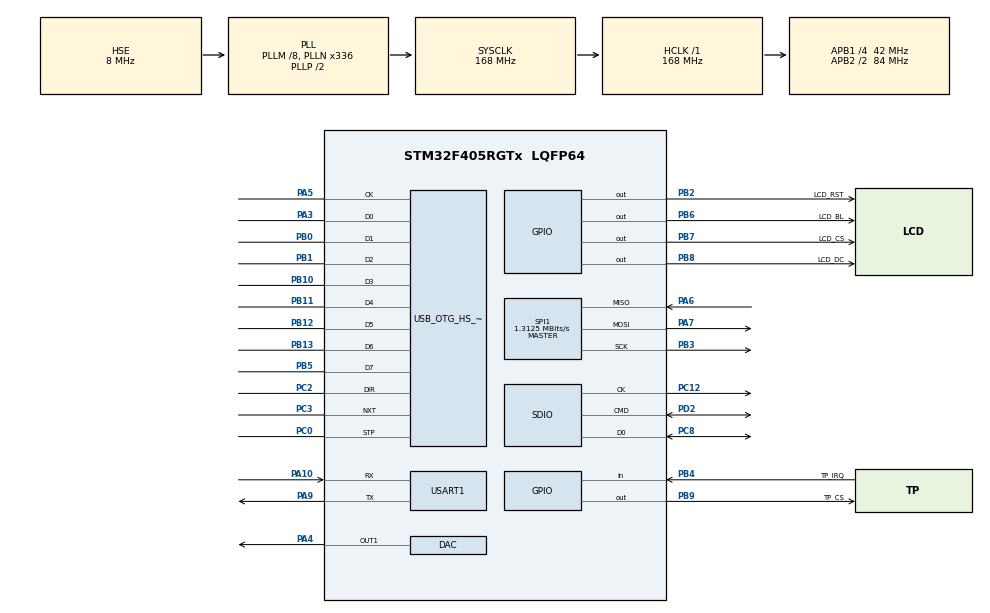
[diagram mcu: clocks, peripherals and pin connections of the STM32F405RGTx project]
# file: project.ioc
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ADC1.Channel-0\#ChannelRegularConversion=ADC_CHANNEL_VREFINT
ADC1.Channel-1\#ChannelRegularConversion=ADC_CHANNEL_TEMPSENSOR
ADC1.ContinuousConvMode=ENABLE
ADC1.DMAContinuousRequests=ENABLE
ADC1.ExternalTrigConv=ADC_EXTERNALTRIGCONV_T3_TRGO
ADC1.NbrOfConversion=2
ADC1.NbrOfConversionFlag=1
ADC1.Rank-0\#ChannelRegularConversion=1
ADC1.Rank-1\#ChannelRegularConversion=2
ADC1.SamplingTime-0\#ChannelRegularConversion=ADC_SAMPLETIME_480CYCLES
ADC1.SamplingTime-1\#ChannelRegularConversion=ADC_SAMPLETIME_480CYCLES
ADC1.master=1
DAC.DAC_Trigger=DAC_TRIGGER_T6_TRGO
Dma.ADC1.0.Direction=DMA_PERIPH_TO_MEMORY
Dma.ADC1.0.FIFOMode=DMA_FIFOMODE_DISABLE
Dma.ADC1.0.Instance=DMA2_Stream0
Dma.ADC1.0.MemDataAlignment=DMA_MDATAALIGN_HALFWORD
Dma.ADC1.0.MemInc=DMA_MINC_ENABLE
Dma.ADC1.0.Mode=DMA_CIRCULAR
Dma.ADC1.0.PeriphDataAlignment=DMA_PDATAALIGN_HALFWORD
Dma.ADC1.0.PeriphInc=DMA_PINC_DISABLE
Dma.ADC1.0.Priority=DMA_PRIORITY_LOW
Dma.DAC1.1.Direction=DMA_MEMORY_TO_PERIPH
Dma.DAC1.1.FIFOMode=DMA_FIFOMODE_DISABLE
Dma.DAC1.1.Instance=DMA1_Stream5
Dma.DAC1.1.MemDataAlignment=DMA_MDATAALIGN_HALFWORD
Dma.DAC1.1.MemInc=DMA_MINC_ENABLE
Dma.DAC1.1.Mode=DMA_CIRCULAR
Dma.DAC1.1.PeriphDataAlignment=DMA_PDATAALIGN_HALFWORD
Dma.DAC1.1.PeriphInc=DMA_PINC_DISABLE
Dma.DAC1.1.Priority=DMA_PRIORITY_HIGH
Dma.Request0=ADC1
Dma.Request1=DAC1
FREERTOS.Mutexes01=spi1Mutex,Dynamic,NULL,Available;sdMutex,Dynamic,NULL,Available
FREERTOS.Queues01=appCmdQueue,8,4,1,Dynamic,NULL,NULL
FREERTOS.Tasks01=defaultTask,24,512,StartDefaultTask,Default,NULL,Dynamic,NULL,NULL;controlTask,32,512,StartTask02,Default,NULL,Dynamic,NULL,NULL;audioTask,40,512,StartTask03,Default,NULL,Dynamic,NULL,NULL;touchTask,24,512,StartTask04,Default,NULL,Dynamic,NULL,NULL;tempTask,8,512,StartTask05,Default,NULL,Dynamic,NULL,NULL
FREERTOS.configTOTAL_HEAP_SIZE=32768
Mcu.Family=STM32F4
Mcu.Name=STM32F405RGTx
Mcu.Package=LQFP64
NVIC.ADC_IRQn=true\:5\:0\:false\:false\:true\:true\:true\:true\:true
NVIC.DMA1_Stream5_IRQn=true\:5\:0\:false\:false\:true\:true\:false\:true\:true
NVIC.DMA2_Stream0_IRQn=true\:5\:0\:false\:false\:true\:true\:false\:true\:true
NVIC.OTG_HS_IRQn=true\:5\:0\:false\:false\:true\:true\:false\:true\:true
NVIC.PriorityGroup=NVIC_PRIORITYGROUP_4
NVIC.SDIO_IRQn=true\:5\:0\:false\:false\:true\:true\:true\:true\:true
PA10.Mode=Asynchronous
PA10.Signal=USART1_RX
PA13.Mode=Serial_Wire
PA13.Signal=SYS_JTMS-SWDIO
PA14.Mode=Serial_Wire
PA14.Signal=SYS_JTCK-SWCLK
PA3.Mode=Device_HS
PA3.Signal=USB_OTG_HS_ULPI_D0
PA4.Signal=COMP_DAC1_group
PA5.Mode=Device_HS
PA5.Signal=USB_OTG_HS_ULPI_CK
PA6.Mode=Full_Duplex_Master
PA6.Signal=SPI1_MISO
PA7.Mode=Full_Duplex_Master
PA7.Signal=SPI1_MOSI
PA9.Mode=Asynchronous
PA9.Signal=USART1_TX
PB0.Mode=Device_HS
PB0.Signal=USB_OTG_HS_ULPI_D1
PB1.Mode=Device_HS
PB1.Signal=USB_OTG_HS_ULPI_D2
PB10.Mode=Device_HS
PB10.Signal=USB_OTG_HS_ULPI_D3
PB11.Mode=Device_HS
PB11.Signal=USB_OTG_HS_ULPI_D4
PB12.Mode=Device_HS
PB12.Signal=USB_OTG_HS_ULPI_D5
PB13.Mode=Device_HS
PB13.Signal=USB_OTG_HS_ULPI_D6
PB2.GPIO_Label=LCD_RST
PB2.GPIO_Speed=GPIO_SPEED_FREQ_VERY_HIGH
PB2.Signal=GPIO_Output
PB3.Mode=Full_Duplex_Master
PB3.Signal=SPI1_SCK
PB4.GPIO_Label=TP_IRQ
PB4.GPIO_PuPd=GPIO_PULLUP
PB4.Signal=GPIO_Input
PB5.Mode=Device_HS
PB5.Signal=USB_OTG_HS_ULPI_D7
PB6.GPIO_Label=LCD_BL
PB6.GPIO_Speed=GPIO_SPEED_FREQ_VERY_HIGH
PB6.Signal=GPIO_Output
PB7.GPIO_Label=LCD_CS
PB7.GPIO_Speed=GPIO_SPEED_FREQ_VERY_HIGH
PB7.Signal=GPIO_Output
PB8.GPIO_Label=LCD_DC
PB8.GPIO_Speed=GPIO_SPEED_FREQ_VERY_HIGH
PB8.Signal=GPIO_Output
PB9.GPIO_Label=TP_CS
PB9.GPIO_Speed=GPIO_SPEED_FREQ_VERY_HIGH
PB9.Signal=GPIO_Output
PC0.Mode=Device_HS
PC0.Signal=USB_OTG_HS_ULPI_STP
PC12.Mode=SD_1_bit
PC12.Signal=SDIO_CK
PC2.Mode=Device_HS
PC2.Signal=USB_OTG_HS_ULPI_DIR
PC3.Mode=Device_HS
PC3.Signal=USB_OTG_HS_ULPI_NXT
PC8.Mode=SD_1_bit
PC8.Signal=SDIO_D0
PD2.Mode=SD_1_bit
PD2.Signal=SDIO_CMD
PH0-OSC_IN.Mode=HSE-External-Oscillator
PH0-OSC_IN.Signal=RCC_OSC_IN
PH1-OSC_OUT.Mode=HSE-External-Oscillator
PH1-OSC_OUT.Signal=RCC_OSC_OUT
ProjectManager.HeapSize=0x200
ProjectManager.StackSize=0x400
ProjectManager.TargetToolchain=STM32CubeIDE
RCC.48MHZClocksFreq_Value=48000000
RCC.AHBFreq_Value=168000000
RCC.APB1CLKDivider=RCC_HCLK_DIV4
RCC.APB1Freq_Value=42000000
RCC.APB1TimFreq_Value=84000000
RCC.APB2CLKDivider=RCC_HCLK_DIV2
RCC.APB2Freq_Value=84000000
RCC.APB2TimFreq_Value=168000000
RCC.CortexFreq_Value=168000000
RCC.HCLKFreq_Value=168000000
RCC.HSE_VALUE=8000000
RCC.HSI_VALUE=16000000
RCC.LSE_VALUE=32768
RCC.PLLM=8
RCC.PLLN=336
RCC.PLLQ=7
RCC.PLLSourceVirtual=RCC_PLLSOURCE_HSE
RCC.SYSCLKFreq_VALUE=168000000
RCC.SYSCLKSource=RCC_SYSCLKSOURCE_PLLCLK
RCC.VCOOutputFreq_Value=336000000
SDIO.ClockDiv=118
SH.COMP_DAC1_group.0=DAC_OUT1,DAC_OUT1
SPI1.BaudRatePrescaler=SPI_BAUDRATEPRESCALER_64
SPI1.CalculateBaudRate=1.3125 MBits/s
SPI1.Direction=SPI_DIRECTION_2LINES
SPI1.Mode=SPI_MODE_MASTER
SPI1.VirtualType=VM_MASTER
TIM3.Period=10000-1
TIM3.Prescaler=840-1
TIM3.TIM_MasterOutputTrigger=TIM_TRGO_UPDATE
TIM6.Period=124
TIM6.Prescaler=41
TIM6.TIM_MasterOutputTrigger=TIM_TRGO_UPDATE
USART1.VirtualMode=VM_ASYNC
USB_DEVICE.CLASS_NAME_HS=MSC
USB_DEVICE.VirtualMode-MSC_HS=Msc
USB_DEVICE.VirtualModeHS=Msc_HS
USB_OTG_HS.VirtualMode-Device_HS=Device_HS
VP_ADC1_TempSens_Input.Mode=IN-TempSens
VP_ADC1_Vref_Input.Mode=IN-Vrefint
VP_FATFS_VS_SDIO.Mode=SDIO
VP_FREERTOS_VS_CMSIS_V2.Mode=CMSIS_V2
VP_TIM3_VS_ClockSourceINT.Mode=Internal
VP_TIM6_VS_ClockSourceINT.Mode=Enable_Timer
VP_USB_DEVICE_VS_USB_DEVICE_MSC_HS.Mode=MSC_HS
board=custom

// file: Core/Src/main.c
/* USER CODE BEGIN Header */
/**
  ******************************************************************************
  * @file           : main.c
  * @brief          : Main program body
  ******************************************************************************
  * @attention
  *
  * Copyright (c) 2026 STMicroelectronics.
  * All rights reserved.
  *
  * This software is licensed under terms that can be found in the LICENSE file
  * in the root directory of this software component.
  * If no LICENSE file comes with this software, it is provided AS-IS.
  *
  ******************************************************************************
  */
/* USER CODE END Header */
#include "main.h"
#include "cmsis_os.h"
#include "fatfs.h"

/* USER CODE BEGIN Includes */
#include <string.h>
#include "LCD_Driver.h"
#include "stdio.h"
#include "tmpsensor.h"
#include "touch.h"
#include "usb_device.h"
#include "usbd_core.h"
#include "cmsis_os2.h"
extern USBD_HandleTypeDef hUsbDeviceHS;
/* USER CODE END Includes */

/* USER CODE BEGIN PD */
#define WAV_HEADER_SIZE        44
#define AUDIO_BUFFER_SAMPLES   4096
#define AUDIO_HALF_SAMPLES     (AUDIO_BUFFER_SAMPLES / 2)
#define AUDIO_SAMPLE_RATE      16000

/* Audio state machine */
#define AUDIO_STOPPED   0
#define AUDIO_PLAYING   1
#define AUDIO_PAUSED    2

#define APP_CMD_PLAY       1
#define APP_CMD_PAUSE      2
#define APP_CMD_USB_TOGGLE 3
/* USER CODE END PD */

ADC_HandleTypeDef hadc1;
DMA_HandleTypeDef hdma_adc1;

DAC_HandleTypeDef hdac;
DMA_HandleTypeDef hdma_dac1;

SD_HandleTypeDef hsd;

SPI_HandleTypeDef hspi1;

TIM_HandleTypeDef htim3;
TIM_HandleTypeDef htim6;

UART_HandleTypeDef huart1;

/* Definitions for defaultTask */
osThreadId_t defaultTaskHandle;
const osThreadAttr_t defaultTask_attributes = {
  .name = "defaultTask",
  .stack_size = 512 * 4,
  .priority = (osPriority_t) osPriorityNormal,
};
/* Definitions for controlTask */
osThreadId_t controlTaskHandle;
const osThreadAttr_t controlTask_attributes = {
  .name = "controlTask",
  .stack_size = 512 * 4,
  .priority = (osPriority_t) osPriorityAboveNormal,
};
/* Definitions for audioTask */
osThreadId_t audioTaskHandle;
const osThreadAttr_t audioTask_attributes = {
  .name = "audioTask",
  .stack_size = 512 * 4,
  .priority = (osPriority_t) osPriorityHigh,
};
/* Definitions for touchTask */
osThreadId_t touchTaskHandle;
const osThreadAttr_t touchTask_attributes = {
  .name = "touchTask",
  .stack_size = 512 * 4,
  .priority = (osPriority_t) osPriorityNormal,
};
/* Definitions for tempTask */
osThreadId_t tempTaskHandle;
const osThreadAttr_t tempTask_attributes = {
  .name = "tempTask",
  .stack_size = 512 * 4,
  .priority = (osPriority_t) osPriorityLow,
};
/* Definitions for appCmdQueue */
osMessageQueueId_t appCmdQueueHandle;
const osMessageQueueAttr_t appCmdQueue_attributes = {
  .name = "appCmdQueue"
};
/* Definitions for spi1Mutex */
osMutexId_t spi1MutexHandle;
const osMutexAttr_t spi1Mutex_attributes = {
  .name = "spi1Mutex"
};
/* Definitions for sdMutex */
osMutexId_t sdMutexHandle;
const osMutexAttr_t sdMutex_attributes = {
  .name = "sdMutex"
};
/* USER CODE BEGIN PV */
FIL myFile;
FIL musicFile;

uint16_t dacBuffer[AUDIO_BUFFER_SAMPLES];
uint8_t wavTemp[AUDIO_HALF_SAMPLES];
uint8_t wavHeader[WAV_HEADER_SIZE];

volatile uint8_t sd_ready = 0;
volatile uint8_t usb_msc_mode = 0;
volatile uint8_t audio_state = AUDIO_STOPPED;
volatile uint8_t audio_half_req = 0;
volatile uint8_t audio_full_req = 0;
volatile uint8_t music_file_opened = 0;
volatile uint8_t audio_finished = 0;        /* set khi bai nhac chay het tu dong */
volatile UINT wavDataOffset = WAV_HEADER_SIZE;

volatile uint32_t audio_total_samples = 0;
volatile uint32_t audio_played_samples = 0;
//uint32_t adc_value;
//float temperature;

//Khang's code start
typedef struct AdcValues{
uint16_t Raw[2]; /* Raw values from ADC */
double IntSensTmp; /* Temperature */
}adcval_t;
adcval_t Adc;
typedef struct Flags
{
uint8_t ADCCMPLT;
}flag_t;
flag_t Flg = {0, };
//Khang's code end
/* USER CODE END PV */

void SystemClock_Config(void);
static void MX_GPIO_Init(void);
static void MX_DMA_Init(void);
static void MX_ADC1_Init(void);
static void MX_SPI1_Init(void);
static void MX_TIM3_Init(void);
static void MX_SDIO_SD_Init(void);
static void MX_USART1_UART_Init(void);
static void MX_DAC_Init(void);
static void MX_TIM6_Init(void);
void StartDefaultTask(void *argument);
void StartTask02(void *argument);
void StartTask03(void *argument);
void StartTask04(void *argument);
void StartTask05(void *argument);

/* USER CODE BEGIN PFP */
float Read_Temperature(void);
uint8_t Audio_Start(void);
void Audio_Pause(void);
void Audio_Resume(void);
void Audio_Reset(void);
void Audio_Service(void);
void Audio_FillHalf(uint16_t startIndex);
void Refresh_Music_Status(void);

void StartDefaultTask(void *argument);

uint8_t Enter_USB_MSC_Mode(void);
uint8_t Exit_USB_MSC_Mode(void);
uint16_t WAV_ReadU16(const uint8_t *p);
uint32_t WAV_ReadU32(const uint8_t *p);
/* USER CODE END PFP */

/* USER CODE BEGIN 0 */
uint16_t WAV_ReadU16(const uint8_t *p)
{
    return (uint16_t)(p[0] | (p[1] << 8));
}

uint32_t WAV_ReadU32(const uint8_t *p)
{
    return (uint32_t)p[0]
         | ((uint32_t)p[1] << 8)
         | ((uint32_t)p[2] << 16)
         | ((uint32_t)p[3] << 24);
}

void Audio_FillHalf(uint16_t startIndex)
{
    UINT br = 0;
    UINT total = 0;
    uint16_t i;

    while (total < AUDIO_HALF_SAMPLES)
    {
        if (f_read(&musicFile, &wavTemp[total], AUDIO_HALF_SAMPLES - total, &br) != FR_OK)
        {
            br = 0;
        }

        if (br == 0)
        {
            /* EOF -> fill phan con lai bang silence (0x80 cho 8-bit unsigned) */
            for (UINT k = total; k < AUDIO_HALF_SAMPLES; k++)
                wavTemp[k] = 0x80;
            break;
        }

        total += br;
    }

    for (i = 0; i < AUDIO_HALF_SAMPLES; i++)
    {
        dacBuffer[startIndex + i] = ((uint16_t)wavTemp[i]) << 4;   // 8-bit unsigned -> 12-bit DAC
    }
}

uint8_t Audio_Start(void)
{
    UINT scanRead;
    FRESULT fres;
    char dbg[40];
    uint16_t i;
    uint8_t scanBuf[256];

    if (audio_state != AUDIO_STOPPED)
        return 1;

    if (!sd_ready)
    {
        lcd_fill_rect(15, 185, 210, 25, WHITE);
        lcd_display_string(20, 190, (uint8_t *)"ERR: SD not ready", FONT_1206, RED);
        return 0;
    }

    fres = f_open(&musicFile, "music.wav", FA_READ);
    if (fres != FR_OK)
    {
        sprintf(dbg, "ERR open: %d", fres);
        lcd_fill_rect(15, 185, 210, 25, WHITE);
        lcd_display_string(20, 190, (uint8_t *)dbg, FONT_1206, RED);
        return 0;
    }

    music_file_opened = 1;

    fres = f_read(&musicFile, scanBuf, sizeof(scanBuf), &scanRead);
    if (fres != FR_OK || scanRead < 44)
    {
        sprintf(dbg, "ERR read: %d/%u", fres, scanRead);
        lcd_fill_rect(15, 185, 210, 25, WHITE);
        lcd_display_string(20, 190, (uint8_t *)dbg, FONT_1206, RED);
        f_close(&musicFile);
        music_file_opened = 0;
        return 0;
    }

    if (memcmp(&scanBuf[0], "RIFF", 4) != 0)
    {
        lcd_fill_rect(15, 185, 210, 25, WHITE);
        lcd_display_string(20, 190, (uint8_t *)"ERR: no RIFF", FONT_1206, RED);
        f_close(&musicFile);
        music_file_opened = 0;
        return 0;
    }

    if (memcmp(&scanBuf[8], "WAVE", 4) != 0)
    {
        lcd_fill_rect(15, 185, 210, 25, WHITE);
        lcd_display_string(20, 190, (uint8_t *)"ERR: no WAVE", FONT_1206, RED);
        f_close(&musicFile);
        music_file_opened = 0;
        return 0;
    }

    if (memcmp(&scanBuf[12], "fmt ", 4) != 0)
    {
        lcd_fill_rect(15, 185, 210, 25, WHITE);
        lcd_display_string(20, 190, (uint8_t *)"ERR: no fmt", FONT_1206, RED);
        f_close(&musicFile);
        music_file_opened = 0;
        return 0;
    }

    if (WAV_ReadU16(&scanBuf[20]) != 1)
    {
        sprintf(dbg, "ERR fmt=%u", WAV_ReadU16(&scanBuf[20]));
        lcd_fill_rect(15, 185, 210, 25, WHITE);
        lcd_display_string(20, 190, (uint8_t *)dbg, FONT_1206, RED);
        f_close(&musicFile);
        music_file_opened = 0;
        return 0;
    }

    if (WAV_ReadU16(&scanBuf[22]) != 1)
    {
        sprintf(dbg, "ERR ch=%u", WAV_ReadU16(&scanBuf[22]));
        lcd_fill_rect(15, 185, 210, 25, WHITE);
        lcd_display_string(20, 190, (uint8_t *)dbg, FONT_1206, RED);
        f_close(&musicFile);
        music_file_opened = 0;
        return 0;
    }

    if (WAV_ReadU32(&scanBuf[24]) != 16000)
    {
        sprintf(dbg, "ERR rate=%lu", WAV_ReadU32(&scanBuf[24]));
        lcd_fill_rect(15, 185, 210, 25, WHITE);
        lcd_display_string(20, 190, (uint8_t *)dbg, FONT_1206, RED);
        f_close(&musicFile);
        music_file_opened = 0;
        return 0;
    }

    if (WAV_ReadU16(&scanBuf[34]) != 8)
    {
        sprintf(dbg, "ERR bits=%u", WAV_ReadU16(&scanBuf[34]));
        lcd_fill_rect(15, 185, 210, 25, WHITE);
        lcd_display_string(20, 190, (uint8_t *)dbg, FONT_1206, RED);
        f_close(&musicFile);
        music_file_opened = 0;
        return 0;
    }

    wavDataOffset = 0;
    for (i = 12; (i + 8) < scanRead; i++)
    {
        if (memcmp(&scanBuf[i], "data", 4) == 0)
        {
            wavDataOffset = i + 8;   // sau "data" + size
            break;
        }
    }

    if (wavDataOffset == 0)
    {
        lcd_fill_rect(15, 185, 210, 25, WHITE);
        lcd_display_string(20, 190, (uint8_t *)"ERR: no data", FONT_1206, RED);
        f_close(&musicFile);
        music_file_opened = 0;
        return 0;
    }

    if (f_lseek(&musicFile, wavDataOffset) != FR_OK)
    {
        lcd_fill_rect(15, 185, 210, 25, WHITE);
        lcd_display_string(20, 190, (uint8_t *)"ERR: seek data", FONT_1206, RED);
        f_close(&musicFile);
        music_file_opened = 0;
        return 0;
    }

    /* Tinh tong so samples = file_size - data_offset (8-bit mono -> 1 byte/sample) */
    uint32_t file_size = f_size(&musicFile);
    if (file_size > wavDataOffset)
        audio_total_samples = file_size - wavDataOffset;
    else
        audio_total_samples = 0;
    audio_played_samples = 0;
    audio_finished = 0;

    Audio_FillHalf(0);
    Audio_FillHalf(AUDIO_HALF_SAMPLES);

    audio_half_req = 0;
    audio_full_req = 0;

    HAL_TIM_Base_Start(&htim6);
    HAL_DAC_Start_DMA(&hdac, DAC_CHANNEL_1, (uint32_t*)dacBuffer, AUDIO_BUFFER_SAMPLES, DAC_ALIGN_12B_R);

    audio_state = AUDIO_PLAYING;
    return 1;
}

/* Pause: giu file mo + giu vi tri + giu counter */
void Audio_Pause(void)
{
    if (audio_state != AUDIO_PLAYING)
        return;

    HAL_DAC_Stop_DMA(&hdac, DAC_CHANNEL_1);
    HAL_TIM_Base_Stop(&htim6);

    audio_state = AUDIO_PAUSED;
}

/* Resume: nap lai buffer tu vi tri file hien tai roi chay tiep */
void Audio_Resume(void)
{
    if (audio_state != AUDIO_PAUSED)
        return;

    /* Nap lai buffer de tranh nghe lai doan cu trong dacBuffer */
    Audio_FillHalf(0);
    Audio_FillHalf(AUDIO_HALF_SAMPLES);

    audio_half_req = 0;
    audio_full_req = 0;

    HAL_TIM_Base_Start(&htim6);
    HAL_DAC_Start_DMA(&hdac, DAC_CHANNEL_1, (uint32_t*)dacBuffer, AUDIO_BUFFER_SAMPLES, DAC_ALIGN_12B_R);

    audio_state = AUDIO_PLAYING;
}

/* Reset: dong file + reset counter ve dau */
void Audio_Reset(void)
{
    if (audio_state == AUDIO_PLAYING)
    {
        HAL_DAC_Stop_DMA(&hdac, DAC_CHANNEL_1);
        HAL_TIM_Base_Stop(&htim6);
    }

    if (music_file_opened)
    {
        f_close(&musicFile);
        music_file_opened = 0;
    }

    audio_state = AUDIO_STOPPED;
    audio_played_samples = 0;
    audio_total_samples = 0;
    audio_finished = 0;
}

void Audio_Service(void)
{
    if (audio_state != AUDIO_PLAYING)
        return;

    if (audio_half_req)
    {
        audio_half_req = 0;
        audio_played_samples += AUDIO_HALF_SAMPLES;
        Audio_FillHalf(0);
    }

    if (audio_full_req)
    {
        audio_full_req = 0;
        audio_played_samples += AUDIO_HALF_SAMPLES;
        Audio_FillHalf(AUDIO_HALF_SAMPLES);
    }

    /* Het bai -> tu dong dung hoan toan */
    if (audio_total_samples > 0 && audio_played_samples >= audio_total_samples)
    {
        HAL_DAC_Stop_DMA(&hdac, DAC_CHANNEL_1);
        HAL_TIM_Base_Stop(&htim6);

        if (music_file_opened)
        {
            f_close(&musicFile);
            music_file_opened = 0;
        }

        audio_state = AUDIO_STOPPED;
        audio_finished = 1;   /* bao main loop cap nhat UI */
    }
}
void Refresh_Music_Status(void)
{
    FRESULT res;

    if (!sd_ready) return;

    res = f_open(&musicFile, "music.wav", FA_READ);

    osMutexAcquire(spi1MutexHandle, osWaitForever);
    lcd_fill_rect(20, 230, 200, 20, WHITE);

    if (res == FR_OK)
    {
        f_close(&musicFile);
        lcd_display_string(20, 230, (uint8_t*)"music.wav READY", FONT_1206, BLACK);
    }
    else
    {
        lcd_display_string(20, 230, (uint8_t*)"music.wav FAIL", FONT_1206, RED);
    }
    osMutexRelease(spi1MutexHandle);
}
uint8_t Enter_USB_MSC_Mode(void)
{
    if (usb_msc_mode) return 1;

    /* Dung hẳn audio, đóng file */
    Audio_Reset();

    osMutexAcquire(spi1MutexHandle, osWaitForever);
    lcd_fill_rect(15, 185, 210, 25, WHITE);
    lcd_display_string(20, 190, (uint8_t*)"USB MODE: START", FONT_1206, BLACK);

    /* Xoa dong thoi gian cu */
    lcd_fill_rect(15, 273, 200, 15, WHITE);
    osMutexRelease(spi1MutexHandle);

    /* Unmount SD khoi FatFs */
    f_mount(NULL, SDPath, 1);
    osDelay(100);

    /* Bat USB MSC */
    MX_USB_DEVICE_Init();
    osDelay(500);

    usb_msc_mode = 1;

    osMutexAcquire(spi1MutexHandle, osWaitForever);
    lcd_fill_rect(10, 250, 220, 20, WHITE);
    lcd_display_string(20, 250, (uint8_t*)"PC: Copy music.wav", FONT_1206, BLUE);
    osMutexRelease(spi1MutexHandle);

    return 1;
}
uint8_t Exit_USB_MSC_Mode(void)
{
    FRESULT res;

    if (!usb_msc_mode) return 1;

    osMutexAcquire(spi1MutexHandle, osWaitForever);
    lcd_fill_rect(15, 185, 210, 25, WHITE);
    lcd_display_string(20, 190, (uint8_t*)"USB MODE: STOP", FONT_1206, BLACK);
    osMutexRelease(spi1MutexHandle);

    /* Tat USB */
    USBD_Stop(&hUsbDeviceHS);
    USBD_DeInit(&hUsbDeviceHS);
    osDelay(300);

    /* Mount lai SD */
    res = f_mount(&SDFatFS, SDPath, 1);
    if (res == FR_OK)
    {
        sd_ready = 1;

        osMutexAcquire(spi1MutexHandle, osWaitForever);
        lcd_fill_rect(20, 210, 200, 20, WHITE);
        lcd_display_string(20, 210, (uint8_t*)"SD OK", FONT_1206, BLACK);
        osMutexRelease(spi1MutexHandle);
    }
    else
    {
        sd_ready = 0;

        osMutexAcquire(spi1MutexHandle, osWaitForever);
        lcd_fill_rect(20, 210, 200, 20, WHITE);
        lcd_display_string(20, 210, (uint8_t*)"Mount FAIL", FONT_1206, RED);
        osMutexRelease(spi1MutexHandle);

        usb_msc_mode = 0;
        return 0;
    }

    Refresh_Music_Status();

    osMutexAcquire(spi1MutexHandle, osWaitForever);
    lcd_fill_rect(10, 250, 220, 20, WHITE);
    lcd_display_string(20, 250, (uint8_t*)"USB Exit", FONT_1206, BLACK);
    osMutexRelease(spi1MutexHandle);

    usb_msc_mode = 0;
    return 1;
}
void HAL_DAC_ConvHalfCpltCallbackCh1(DAC_HandleTypeDef *hdac)
{
    audio_half_req = 1;
}

void HAL_DAC_ConvCpltCallbackCh1(DAC_HandleTypeDef *hdac)
{
    audio_full_req = 1;
}

/* USER CODE END 0 */

int main(void)
{

  /* MCU Configuration--------------------------------------------------------*/

  /* Reset of all peripherals, Initializes the Flash interface and the Systick. */
  HAL_Init();

  /* Configure the system clock */
  SystemClock_Config();

  /* Initialize all configured peripherals */
  MX_GPIO_Init();
  MX_DMA_Init();
  MX_ADC1_Init();
  MX_SPI1_Init();
  MX_TIM3_Init();
  MX_SDIO_SD_Init();
  MX_USART1_UART_Init();
  MX_FATFS_Init();
  MX_DAC_Init();
  MX_TIM6_Init();
  /* USER CODE BEGIN 2 */
    sd_ready = 0;

    lcd_init();
    tp_init();

    lcd_clear_screen(0x2B4F);

    /* Title */
    lcd_fill_rect(10, 10, 100, 35, WHITE);
    lcd_display_string(22, 20, (uint8_t *)"[Nhom 09]", FONT_1608, BLACK);

    /* Internal Temp */
    lcd_fill_rect(10, 55, 220, 30, WHITE);
    lcd_display_string(20, 64, (uint8_t *)"Internal Temperature:", FONT_1206, BLACK);

    /* Nut Play/Pause */
    lcd_fill_rect(10, 90, 220, 80, WHITE);
    lcd_draw_line(50, 105, 90, 130, BLACK);
    lcd_draw_line(90, 130, 50, 155, BLACK);
    lcd_draw_line(50, 155, 50, 105, BLACK);
    lcd_fill_rect(130, 105, 18, 50, BLACK);
    lcd_fill_rect(165, 105, 18, 50, BLACK);

    /* Data */
    lcd_fill_rect(10, 180, 220, 130, WHITE);
    lcd_display_string(20, 190, (uint8_t *)"Data...", FONT_1206, BLACK);

    /* UI da ve xong -> bat backlight. */
    LCD_BKL_H();
  /* USER CODE END 2 */

  /* Init scheduler */
  osKernelInitialize();
  /* Create the mutex(es) */
  /* creation of spi1Mutex */
  spi1MutexHandle = osMutexNew(&spi1Mutex_attributes);

  /* creation of sdMutex */
  sdMutexHandle = osMutexNew(&sdMutex_attributes);

  /* Create the queue(s) */
  /* creation of appCmdQueue */
  appCmdQueueHandle = osMessageQueueNew (8, 4, &appCmdQueue_attributes);

  /* Create the thread(s) */
  /* creation of defaultTask */
  defaultTaskHandle = osThreadNew(StartDefaultTask, NULL, &defaultTask_attributes);

  /* creation of controlTask */
  controlTaskHandle = osThreadNew(StartTask02, NULL, &controlTask_attributes);

  /* creation of audioTask */
  audioTaskHandle = osThreadNew(StartTask03, NULL, &audioTask_attributes);

  /* creation of touchTask */
  touchTaskHandle = osThreadNew(StartTask04, NULL, &touchTask_attributes);

  /* creation of tempTask */
  tempTaskHandle = osThreadNew(StartTask05, NULL, &tempTask_attributes);

  /* Start scheduler */
  osKernelStart();

  /* We should never get here as control is now taken by the scheduler */

  /* Infinite loop */
  /* USER CODE BEGIN WHILE */
//    uint32_t last_temp_update = 0;
//    uint32_t last_time_update = 0;
//    char last_time_str[24] = "             ";   /* 13 spaces: "MM:SS / MM:SS" */
//    char last_temp_str[16] = "       ";         /* 7 spaces:  "XX.XX C" */
//
//    const int CHAR_W = 6;   /* FONT_1206: rong 6, cao 12 */
//    const int CHAR_H = 12;

        while (1)
        {
        }

    /* USER CODE END WHILE */

}

void SystemClock_Config(void)
{
  RCC_OscInitTypeDef RCC_OscInitStruct = {0};
  RCC_ClkInitTypeDef RCC_ClkInitStruct = {0};

  /** Configure the main internal regulator output voltage
  */
  __HAL_RCC_PWR_CLK_ENABLE();
  __HAL_PWR_VOLTAGESCALING_CONFIG(PWR_REGULATOR_VOLTAGE_SCALE1);

  /** Initializes the RCC Oscillators according to the specified parameters
  * in the RCC_OscInitTypeDef structure.
  */
  RCC_OscInitStruct.OscillatorType = RCC_OSCILLATORTYPE_HSE;
  RCC_OscInitStruct.HSEState = RCC_HSE_ON;
  RCC_OscInitStruct.PLL.PLLState = RCC_PLL_ON;
  RCC_OscInitStruct.PLL.PLLSource = RCC_PLLSOURCE_HSE;
  RCC_OscInitStruct.PLL.PLLM = 8;
  RCC_OscInitStruct.PLL.PLLN = 336;
  RCC_OscInitStruct.PLL.PLLP = RCC_PLLP_DIV2;
  RCC_OscInitStruct.PLL.PLLQ = 7;
  if (HAL_RCC_OscConfig(&RCC_OscInitStruct) != HAL_OK)
  {
    Error_Handler();
  }

  /** Initializes the CPU, AHB and APB buses clocks
  */
  RCC_ClkInitStruct.ClockType = RCC_CLOCKTYPE_HCLK|RCC_CLOCKTYPE_SYSCLK
                              |RCC_CLOCKTYPE_PCLK1|RCC_CLOCKTYPE_PCLK2;
  RCC_ClkInitStruct.SYSCLKSource = RCC_SYSCLKSOURCE_PLLCLK;
  RCC_ClkInitStruct.AHBCLKDivider = RCC_SYSCLK_DIV1;
  RCC_ClkInitStruct.APB1CLKDivider = RCC_HCLK_DIV4;
  RCC_ClkInitStruct.APB2CLKDivider = RCC_HCLK_DIV2;

  if (HAL_RCC_ClockConfig(&RCC_ClkInitStruct, FLASH_LATENCY_5) != HAL_OK)
  {
    Error_Handler();
  }
}

static void MX_ADC1_Init(void)
{

  ADC_ChannelConfTypeDef sConfig = {0};

  /** Configure the global features of the ADC (Clock, Resolution, Data Alignment and number of conversion)
  */
  hadc1.Instance = ADC1;
  hadc1.Init.ClockPrescaler = ADC_CLOCK_SYNC_PCLK_DIV4;
  hadc1.Init.Resolution = ADC_RESOLUTION_12B;
  hadc1.Init.ScanConvMode = ENABLE;
  hadc1.Init.ContinuousConvMode = ENABLE;
  hadc1.Init.DiscontinuousConvMode = DISABLE;
  hadc1.Init.ExternalTrigConvEdge = ADC_EXTERNALTRIGCONVEDGE_RISING;
  hadc1.Init.ExternalTrigConv = ADC_EXTERNALTRIGCONV_T3_TRGO;
  hadc1.Init.DataAlign = ADC_DATAALIGN_RIGHT;
  hadc1.Init.NbrOfConversion = 2;
  hadc1.Init.DMAContinuousRequests = ENABLE;
  hadc1.Init.EOCSelection = ADC_EOC_SINGLE_CONV;
  if (HAL_ADC_Init(&hadc1) != HAL_OK)
  {
    Error_Handler();
  }

  /** Configure for the selected ADC regular channel its corresponding rank in the sequencer and its sample time.
  */
  sConfig.Channel = ADC_CHANNEL_VREFINT;
  sConfig.Rank = 1;
  sConfig.SamplingTime = ADC_SAMPLETIME_480CYCLES;
  if (HAL_ADC_ConfigChannel(&hadc1, &sConfig) != HAL_OK)
  {
    Error_Handler();
  }

  /** Configure for the selected ADC regular channel its corresponding rank in the sequencer and its sample time.
  */
  sConfig.Channel = ADC_CHANNEL_TEMPSENSOR;
  sConfig.Rank = 2;
  if (HAL_ADC_ConfigChannel(&hadc1, &sConfig) != HAL_OK)
  {
    Error_Handler();
  }

}

static void MX_DAC_Init(void)
{

  DAC_ChannelConfTypeDef sConfig = {0};

  /** DAC Initialization
  */
  hdac.Instance = DAC;
  if (HAL_DAC_Init(&hdac) != HAL_OK)
  {
    Error_Handler();
  }

  /** DAC channel OUT1 config
  */
  sConfig.DAC_Trigger = DAC_TRIGGER_T6_TRGO;
  sConfig.DAC_OutputBuffer = DAC_OUTPUTBUFFER_ENABLE;
  if (HAL_DAC_ConfigChannel(&hdac, &sConfig, DAC_CHANNEL_1) != HAL_OK)
  {
    Error_Handler();
  }

}

static void MX_SDIO_SD_Init(void)
{

  hsd.Instance = SDIO;
  hsd.Init.ClockEdge = SDIO_CLOCK_EDGE_RISING;
  hsd.Init.ClockBypass = SDIO_CLOCK_BYPASS_DISABLE;
  hsd.Init.ClockPowerSave = SDIO_CLOCK_POWER_SAVE_DISABLE;
  hsd.Init.BusWide = SDIO_BUS_WIDE_1B;
  hsd.Init.HardwareFlowControl = SDIO_HARDWARE_FLOW_CONTROL_DISABLE;
  hsd.Init.ClockDiv = 10;

}

static void MX_SPI1_Init(void)
{

  /* SPI1 parameter configuration*/
  hspi1.Instance = SPI1;
  hspi1.Init.Mode = SPI_MODE_MASTER;
  hspi1.Init.Direction = SPI_DIRECTION_2LINES;
  hspi1.Init.DataSize = SPI_DATASIZE_8BIT;
  hspi1.Init.CLKPolarity = SPI_POLARITY_LOW;
  hspi1.Init.CLKPhase = SPI_PHASE_1EDGE;
  hspi1.Init.NSS = SPI_NSS_SOFT;
  hspi1.Init.BaudRatePrescaler = SPI_BAUDRATEPRESCALER_64;
  hspi1.Init.FirstBit = SPI_FIRSTBIT_MSB;
  hspi1.Init.TIMode = SPI_TIMODE_DISABLE;
  hspi1.Init.CRCCalculation = SPI_CRCCALCULATION_DISABLE;
  hspi1.Init.CRCPolynomial = 10;
  if (HAL_SPI_Init(&hspi1) != HAL_OK)
  {
    Error_Handler();
  }

}

static void MX_TIM3_Init(void)
{

  TIM_ClockConfigTypeDef sClockSourceConfig = {0};
  TIM_MasterConfigTypeDef sMasterConfig = {0};

  htim3.Instance = TIM3;
  htim3.Init.Prescaler = 840-1;
  htim3.Init.CounterMode = TIM_COUNTERMODE_UP;
  htim3.Init.Period = 10000-1;
  htim3.Init.ClockDivision = TIM_CLOCKDIVISION_DIV1;
  htim3.Init.AutoReloadPreload = TIM_AUTORELOAD_PRELOAD_DISABLE;
  if (HAL_TIM_Base_Init(&htim3) != HAL_OK)
  {
    Error_Handler();
  }
  sClockSourceConfig.ClockSource = TIM_CLOCKSOURCE_INTERNAL;
  if (HAL_TIM_ConfigClockSource(&htim3, &sClockSourceConfig) != HAL_OK)
  {
    Error_Handler();
  }
  sMasterConfig.MasterOutputTrigger = TIM_TRGO_UPDATE;
  sMasterConfig.MasterSlaveMode = TIM_MASTERSLAVEMODE_DISABLE;
  if (HAL_TIMEx_MasterConfigSynchronization(&htim3, &sMasterConfig) != HAL_OK)
  {
    Error_Handler();
  }

}

static void MX_TIM6_Init(void)
{

  TIM_MasterConfigTypeDef sMasterConfig = {0};

  htim6.Instance = TIM6;
  htim6.Init.Prescaler = 41;
  htim6.Init.CounterMode = TIM_COUNTERMODE_UP;
  htim6.Init.Period = 124;
  htim6.Init.AutoReloadPreload = TIM_AUTORELOAD_PRELOAD_DISABLE;
  if (HAL_TIM_Base_Init(&htim6) != HAL_OK)
  {
    Error_Handler();
  }
  sMasterConfig.MasterOutputTrigger = TIM_TRGO_UPDATE;
  sMasterConfig.MasterSlaveMode = TIM_MASTERSLAVEMODE_DISABLE;
  if (HAL_TIMEx_MasterConfigSynchronization(&htim6, &sMasterConfig) != HAL_OK)
  {
    Error_Handler();
  }

}

static void MX_USART1_UART_Init(void)
{

  huart1.Instance = USART1;
  huart1.Init.BaudRate = 115200;
  huart1.Init.WordLength = UART_WORDLENGTH_8B;
  huart1.Init.StopBits = UART_STOPBITS_1;
  huart1.Init.Parity = UART_PARITY_NONE;
  huart1.Init.Mode = UART_MODE_TX_RX;
  huart1.Init.HwFlowCtl = UART_HWCONTROL_NONE;
  huart1.Init.OverSampling = UART_OVERSAMPLING_16;
  if (HAL_UART_Init(&huart1) != HAL_OK)
  {
    Error_Handler();
  }

}

static void MX_DMA_Init(void)
{

  /* DMA controller clock enable */
  __HAL_RCC_DMA2_CLK_ENABLE();
  __HAL_RCC_DMA1_CLK_ENABLE();

  /* DMA interrupt init */
  /* DMA1_Stream5_IRQn interrupt configuration */
  HAL_NVIC_SetPriority(DMA1_Stream5_IRQn, 5, 0);
  HAL_NVIC_EnableIRQ(DMA1_Stream5_IRQn);
  /* DMA2_Stream0_IRQn interrupt configuration */
  HAL_NVIC_SetPriority(DMA2_Stream0_IRQn, 5, 0);
  HAL_NVIC_EnableIRQ(DMA2_Stream0_IRQn);

}

static void MX_GPIO_Init(void)
{
  GPIO_InitTypeDef GPIO_InitStruct = {0};

  /* GPIO Ports Clock Enable */
  __HAL_RCC_GPIOH_CLK_ENABLE();
  __HAL_RCC_GPIOC_CLK_ENABLE();
  __HAL_RCC_GPIOA_CLK_ENABLE();
  __HAL_RCC_GPIOB_CLK_ENABLE();
  __HAL_RCC_GPIOD_CLK_ENABLE();

  /*Configure GPIO pin Output Level */
  HAL_GPIO_WritePin(GPIOB, LCD_RST_Pin|LCD_BL_Pin|LCD_CS_Pin|LCD_DC_Pin
                          |TP_CS_Pin, GPIO_PIN_RESET);

  /*Configure GPIO pins : LCD_RST_Pin LCD_BL_Pin LCD_CS_Pin LCD_DC_Pin
                           TP_CS_Pin */
  GPIO_InitStruct.Pin = LCD_RST_Pin|LCD_BL_Pin|LCD_CS_Pin|LCD_DC_Pin
                          |TP_CS_Pin;
  GPIO_InitStruct.Mode = GPIO_MODE_OUTPUT_PP;
  GPIO_InitStruct.Pull = GPIO_NOPULL;
  GPIO_InitStruct.Speed = GPIO_SPEED_FREQ_VERY_HIGH;
  HAL_GPIO_Init(GPIOB, &GPIO_InitStruct);

  /*Configure GPIO pin : TP_IRQ_Pin */
  GPIO_InitStruct.Pin = TP_IRQ_Pin;
  GPIO_InitStruct.Mode = GPIO_MODE_INPUT;
  GPIO_InitStruct.Pull = GPIO_PULLUP;
  HAL_GPIO_Init(TP_IRQ_GPIO_Port, &GPIO_InitStruct);

}

/* USER CODE BEGIN 4 */
float Read_Temperature(void)
{
    uint32_t adc_temp, adc_vref;
    float Vref, Vsense, temperature;

    HAL_ADC_Start(&hadc1);

    // Đọc nhiệt độ
    HAL_ADC_PollForConversion(&hadc1, HAL_MAX_DELAY);
    adc_temp = HAL_ADC_GetValue(&hadc1);

    // Đọc Vref
    HAL_ADC_PollForConversion(&hadc1, HAL_MAX_DELAY);
    adc_vref = HAL_ADC_GetValue(&hadc1);

    // Tính lại điện áp tham chiếu
    Vref = 1.21 * 4095 / adc_vref;

    Vsense = adc_temp * Vref / 4095;

    temperature = (Vsense - 0.76) / 0.0025 + 25;

    return temperature;
}
//Khang's code start
void HAL_ADC_ConvCpltCallback(ADC_HandleTypeDef* hadc)
{
    if(hadc->Instance == ADC1) /* Check if the interrupt comes from ACD1 */
    {
    /* Set flag to true */
    Flg.ADCCMPLT = 255;
    }
}
//Khang's code end
/* USER CODE END 4 */

void StartDefaultTask(void *argument)
{
  FRESULT res;

  HAL_ADC_Start_DMA(&hadc1, (uint32_t*)Adc.Raw, 2);
  HAL_TIM_Base_Start(&htim3);

  osDelay(200);

  osMutexAcquire(spi1MutexHandle, osWaitForever);
  lcd_fill_rect(20, 210, 200, 20, WHITE);
  lcd_display_string(20, 210, (uint8_t*)"Init SD...", FONT_1206, BLACK);
  osMutexRelease(spi1MutexHandle);

  osMutexAcquire(sdMutexHandle, osWaitForever);
  res = f_mount(&SDFatFS, SDPath, 1);
  osMutexRelease(sdMutexHandle);

  if (res == FR_OK)
  {
    sd_ready = 1;

    osMutexAcquire(spi1MutexHandle, osWaitForever);
    lcd_fill_rect(20, 210, 200, 20, WHITE);
    lcd_display_string(20, 210, (uint8_t*)"SD OK", FONT_1206, BLACK);
    osMutexRelease(spi1MutexHandle);

    /* Refresh_Music_Status mo/dong file -> can sdMutex de tranh race
     * voi controlTask/audioTask vua moi duoc start */
    osMutexAcquire(sdMutexHandle, osWaitForever);
    Refresh_Music_Status();
    osMutexRelease(sdMutexHandle);
  }
  else
  {
    sd_ready = 0;

    char msg[32];
    sprintf(msg, "Mount FAIL: %d", res);

    osMutexAcquire(spi1MutexHandle, osWaitForever);
    lcd_fill_rect(20, 210, 200, 20, WHITE);
    lcd_display_string(20, 210, (uint8_t*)msg, FONT_1206, RED);
    osMutexRelease(spi1MutexHandle);
  }

  for(;;)
  {
    osDelay(1000);
  }
}

/* USER CODE BEGIN Header_StartTask02 */
/**
* @brief Function implementing the controlTask thread.
* @param argument: Not used
* @retval None
*/
void StartTask02(void *argument)
{
	uint32_t cmd;

  for(;;)
  {
    if (osMessageQueueGet(appCmdQueueHandle, &cmd, NULL, 10) == osOK)
    {
      switch (cmd)
      {
        case APP_CMD_PLAY:
          if (usb_msc_mode)
          {
            osMutexAcquire(spi1MutexHandle, osWaitForever);
            lcd_fill_rect(15, 185, 200, 25, WHITE);
            lcd_display_string(20, 190, (uint8_t *)"Thoat USB MODE truoc", FONT_1206, RED);
            osMutexRelease(spi1MutexHandle);
          }
          else
          {
            osMutexAcquire(sdMutexHandle, osWaitForever);

            if (audio_state != AUDIO_STOPPED)
            {
              Audio_Reset();
            }

            if (Audio_Start())
            {
              osMutexAcquire(spi1MutexHandle, osWaitForever);
              lcd_fill_rect(15, 185, 200, 25, WHITE);
              lcd_display_string(20, 190, (uint8_t *)"Nhac: PLAYING...", FONT_1206, BLACK);
              osMutexRelease(spi1MutexHandle);
            }

            osMutexRelease(sdMutexHandle);
          }
          break;

        case APP_CMD_PAUSE:
          osMutexAcquire(sdMutexHandle, osWaitForever);

          if (!usb_msc_mode)
          {
            Enter_USB_MSC_Mode();
          }
          else
          {
            Exit_USB_MSC_Mode();
          }

          osMutexRelease(sdMutexHandle);
          break;

        default:
          break;
      }
    }

    osDelay(10);
  }
}
/* USER CODE END Header_StartTask02 */

void StartTask03(void *argument)
{
  uint32_t last_time_update = 0;
  char last_time_str[24] = "             ";
  const int CHAR_W = 6;
  const int CHAR_H = 12;

  for(;;)
  {
    if (!usb_msc_mode)
    {
      osMutexAcquire(sdMutexHandle, osWaitForever);
      Audio_Service();
      osMutexRelease(sdMutexHandle);
    }

    if (audio_finished)
    {
      audio_finished = 0;

      osMutexAcquire(spi1MutexHandle, osWaitForever);
      lcd_fill_rect(15, 185, 200, 25, WHITE);
      lcd_display_string(20, 190, (uint8_t *)"Nhac: HET BAI", FONT_1206, BLACK);
      lcd_fill_rect(15, 273, 200, 15, WHITE);
      osMutexRelease(spi1MutexHandle);

      memset(last_time_str, ' ', 13);
      last_time_str[13] = '\0';
    }

    if (audio_state == AUDIO_PLAYING && audio_total_samples > 0 &&
        HAL_GetTick() - last_time_update > 200)
    {
      last_time_update = HAL_GetTick();

      uint32_t played = audio_played_samples;
      uint32_t total  = audio_total_samples;
      if (played > total) played = total;

      uint32_t cur_s = played / AUDIO_SAMPLE_RATE;
      uint32_t tot_s = total / AUDIO_SAMPLE_RATE;

      char new_time_str[24];
      snprintf(new_time_str, sizeof(new_time_str), "%02lu:%02lu / %02lu:%02lu",
               (unsigned long)(cur_s / 60), (unsigned long)(cur_s % 60),
               (unsigned long)(tot_s / 60), (unsigned long)(tot_s % 60));

      const int T_X = 20;
      const int T_Y = 275;

      osMutexAcquire(spi1MutexHandle, osWaitForever);
      for (int i = 0; new_time_str[i] != '\0' && i < 15; i++)
      {
        if (last_time_str[i] != new_time_str[i])
        {
          lcd_fill_rect(T_X + i * CHAR_W, T_Y, CHAR_W, CHAR_H, WHITE);
          char tmp[2] = { new_time_str[i], '\0' };
          lcd_display_string(T_X + i * CHAR_W, T_Y, (uint8_t *)tmp, FONT_1206, BLACK);
        }
      }
      osMutexRelease(spi1MutexHandle);

      strcpy(last_time_str, new_time_str);
    }

    osDelay(10);
  }
}
void StartTask04(void *argument)
{
  uint16_t raw_x = 0, raw_y = 0;
  uint32_t cmd;

  for(;;)
  {
    osMutexAcquire(spi1MutexHandle, osWaitForever);
    uint8_t touched = Get_Touch_XY(&raw_x, &raw_y);
    osMutexRelease(spi1MutexHandle);

    if (touched)
    {
      if (raw_x >= 1900 && raw_x <= 2700 && raw_y >= 1000 && raw_y <= 2900)
      {
        if (raw_y >= 1900)
          cmd = APP_CMD_PLAY;
        else
          cmd = APP_CMD_PAUSE;

        osMessageQueuePut(appCmdQueueHandle, &cmd, 0, 0);
        osDelay(300);
      }
    }

    osDelay(20);
  }
}
void StartTask05(void *argument)
{
  uint32_t last_temp_update = 0;
  char last_temp_str[16] = "       ";
  const int CHAR_W = 6;
  const int CHAR_H = 12;

  for(;;)
  {
    if (Flg.ADCCMPLT)
    {
      if (HAL_GetTick() - last_temp_update > ((audio_state == AUDIO_PLAYING) ? 2000 : 1000))
      {
        int temp_int, temp_frac;

        Adc.IntSensTmp = TMPSENSOR_getTemperature(Adc.Raw[1], Adc.Raw[0]);
        temp_int = (int)Adc.IntSensTmp;
        temp_frac = (int)((Adc.IntSensTmp - temp_int) * 100.0f);
        if (temp_frac < 0) temp_frac = -temp_frac;

        char new_temp_str[16];
        sprintf(new_temp_str, "%2d.%02d C", temp_int, temp_frac);

        const int TMP_X = 155;
        const int TMP_Y = 64;

        osMutexAcquire(spi1MutexHandle, osWaitForever);
        for (int i = 0; new_temp_str[i] != '\0' && i < 15; i++)
        {
          if (last_temp_str[i] != new_temp_str[i])
          {
            lcd_fill_rect(TMP_X + i * CHAR_W, TMP_Y, CHAR_W, CHAR_H, WHITE);
            char tmp[2] = { new_temp_str[i], '\0' };
            lcd_display_string(TMP_X + i * CHAR_W, TMP_Y, (uint8_t *)tmp, FONT_1206, BLACK);
          }
        }
        osMutexRelease(spi1MutexHandle);

        strcpy(last_temp_str, new_temp_str);
        last_temp_update = HAL_GetTick();
      }

      Flg.ADCCMPLT = 0;
    }

    osDelay(50);
  }
}

void Error_Handler(void)
{
  __disable_irq();
  while (1)
  {
  }
}
